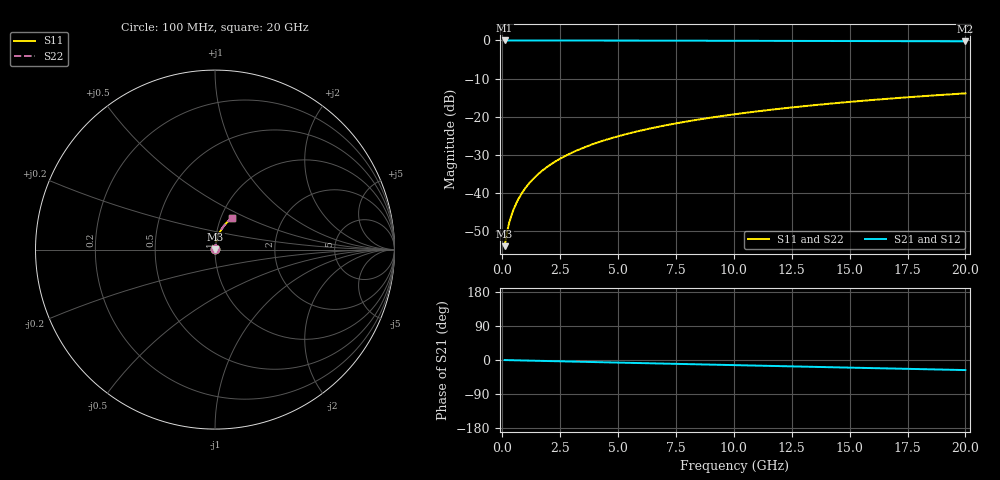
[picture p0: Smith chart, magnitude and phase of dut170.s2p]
! Touchstone file exported from HFSS 2026.1.0
!  File:  C:/ffzhzh/LocalFiles/Ansys_Project_Files/temp_train_TMRDL_170_1782983450_42984.aedt
!  Generated:  05:12:03 PM Jul  2, 2026
!  Design:  TMRDL
!  Project:  temp_train_TMRDL_170_1782983450_42984
! Variables:
!  h_bsmrdl = 2um
!  h_ox = 20um
!  h_rdl = 5um
!  h_sub = 80um
!  h_tmrdl = 3.79um
!  h_tsv = 80um
!  h_via = 3um
!  l_bsmrdl = 300um
!  l_sub = 792.14um
!  l_tmrdl = 392.14um
!  m_sub = 200um
!  pitch = 48.59um
!  r_tsv = 6um
!  s_tmrdl = 10um
!  w_bsmrdl = 18um
!  w_sub = 500um
!  w_tmrdl = 29.09um
!  x_tsv_center1 = 406.685um
!  x_tsv_center2 = 724.685um
!  x_tsv_center3 = 1145.915um
!  x_tsv_center4 = 1463.915um
!  x_tsv_center5 = 1885.145um
!  x_tsv_center6 = 2203.145um
# GHz S MA R 50.000000
! Terminal data exported
! Port[1] = TM_RDL1_1_T1
! Port[2] = TM_RDL1_1_T2
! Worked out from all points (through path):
!   200 points, 100 MHz to 20 GHz, reference 50 ohm
!   highest |S21| = -0.01 dB at 100 MHz (marker M1); lowest = -0.2 dB at 20 GHz (marker M2)
!   group delay of S21, straight-line fit = 3.69 ps
!   lowest |S11| = -54.0 dB at 100 MHz (marker M3), VSWR 1.00, Z = 50.2 + j0.131 ohm
!   |S11| at or under -10 dB: start of sweep to end of sweep
!   |S22| runs from -54.0 to -13.9 dB; largest |S21 - S12| = 3.6e-15
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0.1  0.001998 40.6  0.9985 -0.1  0.9985 -0.1  0.001998 40.6
! Gamma 0 0 0 0
! Port Impedance 50 0 50 0
0.2  0.003013 56.7  0.9984 -0.3  0.9984 -0.3  0.003013 56.7
0.3  0.004075 64.0  0.9982 -0.4  0.9982 -0.4  0.004075 64.0
0.4  0.005131 68.3  0.9981 -0.6  0.9981 -0.6  0.005131 68.3
0.5  0.006189 71.3  0.9981 -0.7  0.9981 -0.7  0.006189 71.3
0.6  0.007253 73.5  0.998 -0.8  0.998 -0.8  0.007253 73.5
0.8  0.009404 76.4  0.9979 -1.1  0.9979 -1.1  0.009404 76.4
1.1  0.01267 78.9  0.9978 -1.5  0.9978 -1.5  0.01267 78.9
1.3  0.01487 79.9  0.9978 -1.8  0.9978 -1.8  0.01487 79.9
1.6  0.01818 80.8  0.9976 -2.2  0.9976 -2.2  0.01818 80.8
2.1  0.02369 81.4  0.9974 -2.9  0.9974 -2.9  0.02369 81.4
2.7  0.0303 81.5  0.997 -3.7  0.997 -3.7  0.0303 81.5
3.5  0.03906 81.0  0.9964 -4.8  0.9964 -4.8  0.03906 81.0
4.2  0.04666 80.4  0.9958 -5.8  0.9958 -5.8  0.04666 80.4
5  0.05525 79.6  0.9951 -6.9  0.9951 -6.9  0.05525 79.6
5.9  0.06482 78.6  0.9941 -8.1  0.9941 -8.1  0.06482 78.6
6.8  0.07428 77.5  0.9931 -9.3  0.9931 -9.3  0.07428 77.5
8.3  0.08982 75.7  0.9913 -11.3  0.9913 -11.3  0.08982 75.7
10.1  0.1081 73.5  0.9889 -13.7  0.9889 -13.7  0.1081 73.5
13.4  0.1408 69.5  0.9839 -18.0  0.9839 -18.0  0.1408 69.5
16.7  0.1721 65.4  0.9783 -22.3  0.9783 -22.3  0.1721 65.4
20  0.202 61.4  0.972 -26.6  0.972 -26.6  0.202 61.4
